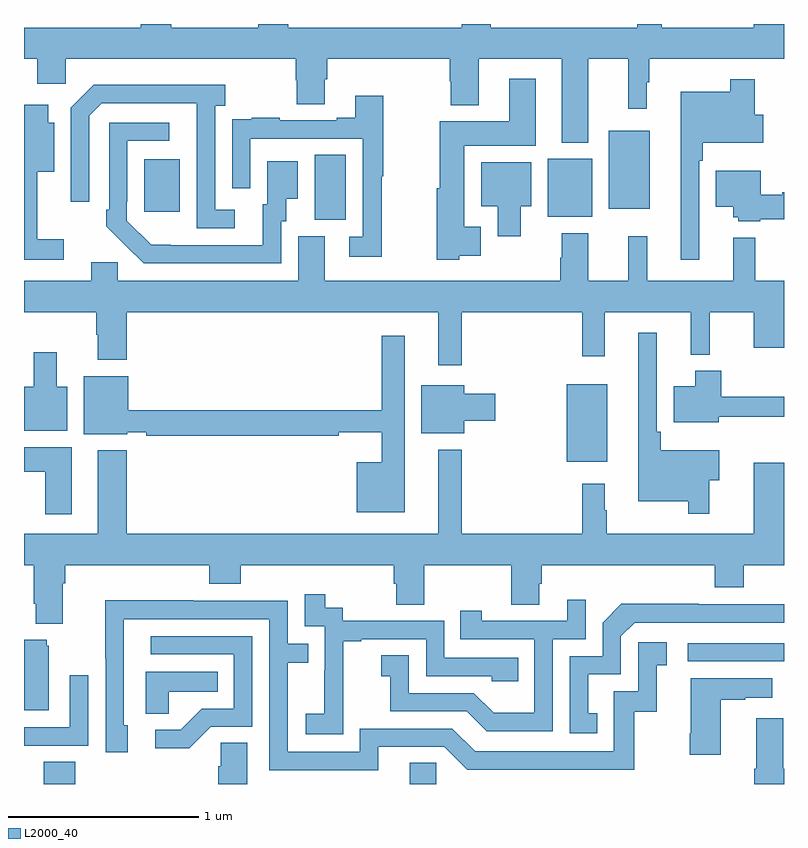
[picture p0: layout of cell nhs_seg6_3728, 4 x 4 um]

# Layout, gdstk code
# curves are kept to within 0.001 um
import gdstk
lib = gdstk.Library(unit=1e-6, precision=1e-09)
def R(c, l, rs):  # rectangles x0, y0, x1, y1
    for r in rs: c.add(gdstk.rectangle(r[:2], r[2:], *l))
def P(c, l, *ps):  # polygons
    for p in ps: c.add(gdstk.Polygon(p, *l))
L2000_40 = (2000, 40)

nhs_seg6_3728 = lib.new_cell('nhs_seg6_3728')
R(nhs_seg6_3728, L2000_40, [(329.105,963.5,329.27,963.617), (331.031,963.5,331.17,963.611), (332.493,964.146,333,964.242), (331.856,965.195,332.071,965.605), (330.53,966.469,330.694,966.812), (331.757,966.485,331.99,966.79), (329.633,966.513,329.821,966.787), (332.078,966.527,332.293,966.937)])
P(nhs_seg6_3728, L2000_40, [(331.969,967.316),(332.18,967.316),(332.18,967.053),(332.278,967.053),(332.278,967.193),(332.29,967.193),(332.29,967.316),(333,967.316),(333,967.5),(332.84,967.5),(332.84,967.48),(332.357,967.48),(332.357,967.5),(332.228,967.5),(332.228,967.48),(331.456,967.48),(331.456,967.5),(331.304,967.5),(331.304,967.48),(330.392,967.48),(330.392,967.5),(330.232,967.5),(330.232,967.48),(329.775,967.48),(329.775,967.5),(329.615,967.5),(329.615,967.48),(329,967.48),(329,967.316),(329.069,967.316),(329.069,967.185),(329.22,967.185),(329.22,967.316),(330.431,967.316),(330.431,967.203),(330.436,967.203),(330.436,967.078),(330.583,967.078),(330.583,967.21),(330.596,967.21),(330.596,967.316),(331.241,967.316),(331.241,967.2),(331.246,967.2),(331.246,967.073),(331.393,967.073),(331.393,967.316),(331.829,967.316),(331.829,966.875),(331.969,966.875)],
  [(331.29,966.281),(331.405,966.281),(331.405,966.433),(331.318,966.433),(331.318,966.86),(331.693,966.86),(331.693,967.213),(331.553,967.213),(331.553,966.988),(331.189,966.988),(331.189,966.636),(331.172,966.636),(331.172,966.26),(331.29,966.26)],
  [(332.553,966.779),(332.573,966.779),(332.573,966.875),(332.89,966.875),(332.89,967.023),(332.846,967.023),(332.846,967.21),(332.718,967.21),(332.718,967.144),(332.456,967.144),(332.456,966.258),(332.553,966.258)],
  [(330.109,966.522),(330.006,966.522),(330.006,967.07),(330.058,967.07),(330.058,967.18),(329.368,967.18),(329.247,967.059),(329.247,966.564),(329.343,966.564),(329.343,967.017),(329.409,967.083),(329.909,967.083),(329.91,966.426),(330.109,966.426)],
  [(330.884,966.699),(330.892,966.699),(330.892,967.123),(330.743,967.123),(330.743,967.006),(330.647,967.006),(330.647,966.993),(330.347,966.993),(330.347,967.006),(330.199,967.006),(330.199,966.999),(330.097,966.999),(330.097,966.89),(330.096,966.89),(330.096,966.636),(330.192,966.636),(330.192,966.897),(330.783,966.897),(330.783,966.381),(330.711,966.381),(330.711,966.276),(330.884,966.276)],
  [(329.209,966.367),(329.069,966.367),(329.069,966.722),(329.158,966.722),(329.158,966.979),(329.128,966.979),(329.128,967.075),(329,967.075),(329,966.258),(329.209,966.258)],
  [(330.354,966.462),(330.379,966.462),(330.379,966.581),(330.442,966.581),(330.442,966.778),(330.281,966.778),(330.281,966.552),(330.257,966.552),(330.257,966.336),(329.67,966.337),(329.541,966.465),(329.541,966.565),(329.544,966.565),(329.544,966.885),(329.764,966.885),(329.764,966.981),(329.448,966.981),(329.448,966.523),(329.433,966.523),(329.433,966.435),(329.63,966.24),(330.354,966.24)],
  [(331.615,966.542),(331.669,966.542),(331.669,966.772),(331.406,966.772),(331.406,966.542),(331.493,966.542),(331.493,966.384),(331.615,966.384)],
  [(332.874,966.472),(333,966.472),(333,966.614),(332.991,966.614),(332.991,966.601),(332.878,966.601),(332.878,966.727),(332.642,966.727),(332.642,966.539),(332.732,966.539),(332.732,966.483),(332.76,966.483),(332.76,966.461),(332.874,966.461)],
  [(331.303,965.984),(331.939,965.984),(331.939,965.751),(332.057,965.751),(332.057,965.984),(332.51,965.984),(332.51,965.759),(332.61,965.759),(332.61,965.984),(332.84,965.984),(332.84,965.796),(333,965.796),(333,966.148),(332.849,966.148),(332.849,966.376),(332.732,966.376),(332.732,966.148),(332.279,966.148),(332.279,966.382),(332.18,966.382),(332.18,966.148),(331.969,966.148),(331.969,966.4),(331.829,966.4),(331.829,966.269),(331.822,966.269),(331.822,966.148),(330.583,966.148),(330.583,966.384),(330.443,966.384),(330.443,966.148),(329.493,966.148),(329.493,966.246),(329.354,966.246),(329.354,966.148),(329,966.148),(329,965.984),(329.38,965.984),(329.38,965.864),(329.387,965.864),(329.387,965.732),(329.54,965.732),(329.54,965.984),(331.181,965.984),(331.181,965.703),(331.303,965.703)],
  [(332.607,965.099),(332.659,965.099),(332.659,965.257),(332.351,965.257),(332.351,965.353),(332.331,965.353),(332.331,965.875),(332.234,965.875),(332.234,964.988),(332.496,964.988),(332.496,964.923),(332.607,964.923)],
  [(331.003,965.86),(330.882,965.86),(330.882,965.468),(329.548,965.468),(329.548,965.647),(329.315,965.647),(329.315,965.342),(329.544,965.342),(329.544,965.352),(329.644,965.352),(329.644,965.332),(330.656,965.332),(330.656,965.351),(330.882,965.351),(330.882,965.194),(330.752,965.194),(330.752,964.931),(331.003,964.931)],
  [(329.227,965.59),(329.173,965.59),(329.173,965.773),(329.051,965.773),(329.051,965.59),(329,965.59),(329,965.36),(329.227,965.36)],
  [(332.656,965.434),(333,965.434),(333,965.537),(332.669,965.537),(332.669,965.674),(332.534,965.674),(332.534,965.593),(332.42,965.593),(332.42,965.405),(332.656,965.405)],
  [(331.318,965.411),(331.48,965.411),(331.48,965.553),(331.318,965.553),(331.318,965.599),(331.091,965.599),(331.091,965.345),(331.318,965.345)],
  [(329.251,965.272),(329,965.272),(329,965.144),(329.111,965.144),(329.111,964.92),(329.251,964.92)],
  [(329.203,964.556),(329.216,964.556),(329.216,964.652),(329.975,964.652),(329.975,964.553),(330.14,964.553),(330.14,964.652),(330.947,964.652),(330.947,964.554),(330.959,964.554),(330.959,964.444),(331.107,964.444),(331.107,964.652),(331.564,964.652),(331.564,964.444),(331.711,964.444),(331.711,964.554),(331.724,964.554),(331.724,964.652),(332.636,964.652),(332.636,964.535),(332.788,964.535),(332.788,964.652),(333,964.652),(333,965.191),(332.84,965.191),(332.84,964.816),(332.068,964.816),(332.068,964.94),(332.056,964.94),(332.056,965.08),(331.939,965.08),(331.939,964.816),(331.303,964.816),(331.303,965.26),(331.181,965.26),(331.181,964.816),(329.54,964.816),(329.54,965.257),(329.387,965.257),(329.387,964.816),(329,964.816),(329,964.652),(329.051,964.652),(329.051,964.45),(329.063,964.45),(329.063,964.343),(329.203,964.343)],
  [(330.681,963.967),(330.68,963.967),(330.68,964.251),(330.775,964.251),(330.775,964.263),(331.116,964.263),(331.116,964.068),(331.461,964.068),(331.461,964.041),(331.601,964.041),(331.601,964.164),(331.212,964.164),(331.212,964.359),(330.678,964.359),(330.678,964.428),(330.586,964.428),(330.586,964.498),(330.477,964.498),(330.477,964.329),(330.582,964.329),(330.582,964.1),(330.581,964.1),(330.581,963.871),(330.483,963.871),(330.483,963.761),(330.681,963.761)],
  [(331.782,964.263),(331.956,964.263),(331.956,964.471),(331.859,964.471),(331.859,964.359),(331.408,964.359),(331.408,964.411),(331.297,964.411),(331.297,964.263),(331.686,964.263),(331.686,963.874),(331.472,963.874),(331.368,963.978),(331.026,963.978),(331.026,964.177),(330.879,964.177),(330.879,964.067),(330.928,964.067),(330.928,963.882),(331.331,963.882),(331.436,963.777),(331.782,963.777)],
  [(330.865,963.696),(331.212,963.696),(331.332,963.576),(332.212,963.576),(332.212,963.879),(332.33,963.879),(332.33,964.125),(332.383,964.125),(332.383,964.246),(332.232,964.246),(332.232,963.987),(332.103,963.987),(332.103,963.672),(331.374,963.672),(331.254,963.792),(330.768,963.792),(330.768,963.669),(330.387,963.669),(330.387,964.138),(330.497,964.138),(330.497,964.239),(330.387,964.239),(330.387,964.464),(329.891,964.464),(329.891,964.466),(329.428,964.466),(329.428,964.159),(329.43,964.159),(329.43,963.666),(329.545,963.666),(329.545,963.81),(329.526,963.81),(329.526,964.368),(330.291,964.368),(330.291,963.573),(330.865,963.573)],
  [(332.018,963.873),(331.969,963.873),(331.969,964.077),(332.142,964.077),(332.142,964.278),(332.214,964.35),(333,964.35),(333,964.446),(332.552,964.446),(332.552,964.448),(332.144,964.448),(332.046,964.35),(332.046,964.173),(331.872,964.173),(331.872,963.768),(332.018,963.768)],
  [(329.982,963.801),(330.201,963.801),(330.201,964.278),(329.667,964.278),(329.667,964.182),(330.105,964.182),(330.105,963.897),(329.936,963.897),(329.825,963.786),(329.691,963.786),(329.691,963.689),(329.869,963.689)],
  [(329.131,964.227),(329.12,964.227),(329.12,964.258),(329,964.258),(329,963.887),(329.131,963.887)],
  [(329.763,963.986),(330.02,963.986),(330.02,964.09),(329.642,964.09),(329.642,963.871),(329.763,963.871)],
  [(329.021,963.702),(329.337,963.702),(329.337,964.072),(329.241,964.072),(329.241,963.798),(329,963.798),(329,963.701),(329.021,963.701)],
  [(332.668,963.943),(332.795,963.943),(332.795,963.953),(332.938,963.953),(332.938,964.057),(332.51,964.057),(332.51,963.766),(332.503,963.766),(332.503,963.654),(332.668,963.654)],
  [(333,963.58),(332.995,963.58),(332.995,963.847),(332.855,963.847),(332.855,963.58),(332.843,963.58),(332.843,963.5),(333,963.5)],
  [(330.175,963.716),(330.036,963.716),(330.036,963.593),(330.023,963.593),(330.023,963.5),(330.175,963.5)])

lib.write_gds('nhs_seg6_3728.gds')
